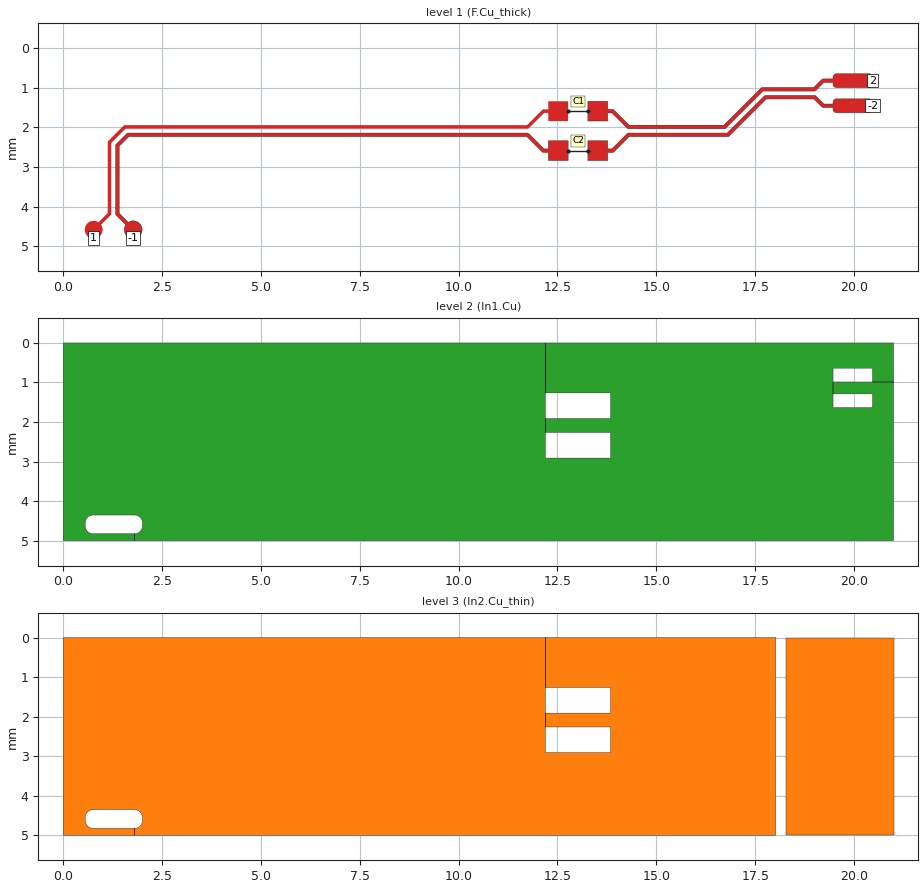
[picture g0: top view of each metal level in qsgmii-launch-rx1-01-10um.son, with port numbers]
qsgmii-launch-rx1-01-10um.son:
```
FTYP SONPROJ 19 ! Sonnet Project File
VER 18.56
HEADER
LIC antikernel2.1.65565
DAT 12/22/2024 21:07:20
BUILT_BY_CREATED xgeom 18.52 11/18/2021 20:28:07
BUILT_BY_SAVED sonnet 18.56
MDATE 12/22/2024 21:07:20
HDATE 12/22/2024 21:07:20
ANN Created by dxfgeo, Sonnet Software Inc.
END HEADER
DIM
ANG DEG
CAP PF
CON /OH
FREQ GHZ
IND NH
LNG MM
RES OH
END DIM
CONTROL
VARSWP
OPTIONS  -dj
SPEED 1
CACHE_ABS 2
Q_ACC N
END CONTROL
GEO
TMET "Free Space" 0 FREESPACE 376.7303136 0 0 0
BMET "Free Space" 0 FREESPACE 376.7303136 0 0 0
MET "Copper_1oz_thin" 1 NOR 58000000 0.5 0.035 
MET "Copper_1oz_thick" 2 TMM 58000000 0.5 0.035 2
MET "Copper_1oz_thick_down" 3 TMM 58000000 0.5 0.035 2 CDVY TDWN
MET "Copper_0.5oz_thin" 4 NOR 58000000 0.5 0.017 
MET "Copper_0.5oz_thick" 12 TMM 58000000 0.5 0.017 2
MET "Copper_0.5oz_thick_down" 5 TMM 58000000 0.5 0.017 2 CDVY TDWN
BOX 8 21 5 4200 1000 20 0
      5 1 1 0 0 0 0 "Air"
      0.04 3.5 1 0.025 0 0 0 "Soldermask"
      0.076 4.07 1 0.02 0 0 0 "Shengyi_S1000-2M"
      0.1 4.24 1 0.019 0 0 0 "Shengyi_S1000-2M"
      1.038 4.58 1 0.016 0 0 0 "Shengyi_S1000-2M"
      0.1 4.24 1 0.019 0 0 0 "Shengyi_S1000-2M"
      0.076 4.07 1 0.02 0 0 0 "Shengyi_S1000-2M"
      0.04 3.5 1 0.025 0 0 0 "Soldermask"
      5 1 1 0 0 0 0 "Air"
TECHLAY METAL F.Cu_thick L1D0 -2 -65534 CAD F.Cu_thick drawing 
1 0 1 N 1403 1 1 100 100 0 0 0 Y
END
END
TECHLAY VIA Via1 L7D0 -13 -65534 CAD Via1 drawing 
VIA POLYGON
1 0 -1 N 1413 1 1 100 100 0 0 0 Y
TOLEVEL 6 RING NOCOVERS
END
END
TECHLAY METAL F.Cu_thin <UNSPECIFIED> -1 -65534 CAD F.Cu_thin drawing 
1 0 0 N 1415 1 1 100 100 0 0 0 Y
END
END
TECHLAY METAL In1.Cu L2D0 -3 -65534 CAD In1.Cu drawing 
2 0 0 N 1422 1 1 100 100 0 0 0 Y
END
END
TECHLAY METAL In2.Cu_thin L3D0 -4 -65534 CAD In2.Cu drawing 
3 0 3 N 1425 1 1 100 100 0 0 0 Y
END
END
TECHLAY METAL In2.Cu_thick <UNSPECIFIED> -5 -65534 CAD In2.Cu_thick drawing 
3 0 4 N 1427 1 1 100 100 0 0 0 Y
END
END
TECHLAY METAL In3.Cu_thin L4D0 -8 -65534 CAD In5.Cu drawing 
4 0 3 N 1430 1 1 100 100 0 0 0 Y
END
END
TECHLAY METAL In3.Cu <UNSPECIFIED> -6 -65534 CAD In3.Cu drawing 
4 0 0 N 1448 1 1 100 100 0 0 0 Y
END
END
TECHLAY METAL In4.Cu L5D0 -10 -65534 CAD In6.Cu drawing 
5 0 0 N 1433 1 1 100 100 0 0 0 Y
END
END
TECHLAY METAL B.Cu_thick L6D0 -12 -65534 CAD B.Cu_thick drawing 
6 0 2 N 1436 1 1 100 100 0 0 0 Y
END
END
TECHLAY METAL B.Cu_thin <UNSPECIFIED> -11 -65534 CAD B.Cu_thin drawing 
6 0 0 N 1438 1 1 100 100 0 0 0 Y
END
END
TECHLAY METAL In3.Cu_thick <UNSPECIFIED> -9 -65534 CAD In5.Cu_thick drawing 
8 0 5 N 1442 1 1 100 100 0 0 0 Y
END
END
VALVAR WIDTH LNG 0.1 "Dim. Param."
VALVAR WIDTH2 LNG "WIDTH" "Dim. Param."
VALVAR SPACE LNG 0.15 "Dim. Param."
LORGN 0 5 U 
POR1 CUP Auto
GNDREF AUTO
TERMW FEED
POLY 30 1
60
-2 100 0 0 0 20.469 1.452 
CUPGRP "Auto" LOCAL
ID 1405
END
POR1 CUP Auto
GNDREF AUTO
TERMW FEED
POLY 49 1
56
2 100 0 0 0 20.469 0.817 
CUPGRP "Auto" LOCAL
ID 1407
END
POR1 CUP Auto
GNDREF FLOAT
TERMW FEED
POLY 1359 1
104
-1 100 0 0 0 1.769 4.8 
CUPGRP "Auto" LOCAL
ID 1409
END
POR1 CUP Auto
GNDREF FLOAT
TERMW FEED
POLY 1360 1
106
1 100 0 0 0 0.769 4.8 
CUPGRP "Auto" LOCAL
ID 1411
END
SMD 1 "C1"
ID 1382
GNDREF FLOAT
SBOX 12.894 13.144 1.5495 1.6245
PBSHW N
LPOS 13.019 1.5495
TYPE IDEAL CAP 100000
SMDP 1 12.769 1.587 L 3 1 
EXSMDP
GNDREF FLOAT
TERMW FEED
END EXSMDP
SMDP 1 13.269 1.587 R 4 2 
EXSMDP
GNDREF FLOAT
TERMW FEED
END EXSMDP
END
SMD 1 "C2"
ID 1387
GNDREF FLOAT
SBOX 12.894 13.144 2.5495 2.6245
PBSHW N
LPOS 13.019 2.5495
TYPE IDEAL CAP 100000
SMDP 1 12.769 2.587 L 5 1 
EXSMDP
GNDREF FLOAT
TERMW FEED
END EXSMDP
SMDP 1 13.269 2.587 R 6 2 
EXSMDP
GNDREF FLOAT
TERMW FEED
END EXSMDP
END
NUM 7
1 118 1 N 30 1 1 100 100 0 0 0 Y
TLAYNAM F.Cu_thick INH
13.269 2.337
13.769 2.337
13.769 2.542
13.876 2.542
14.256 2.162
14.257 2.16
14.263 2.154
14.267 2.151
14.27 2.148
14.274 2.146
14.278 2.145
14.283 2.143
14.287 2.142
16.792 2.142
17.725 1.21
17.726 1.208
17.732 1.202
17.736 1.199
17.739 1.196
17.743 1.194
17.747 1.193
17.751 1.191
17.756 1.19
18.995 1.19
18.999 1.189
19.004 1.189
19.012 1.191
19.017 1.192
19.025 1.196
19.028 1.198
19.032 1.201
19.237 1.407
19.469 1.407
19.469 1.36
19.47 1.352
19.472 1.343
19.474 1.335
19.477 1.327
19.481 1.32
19.486 1.312
19.504 1.294
19.512 1.289
19.519 1.285
19.527 1.282
19.535 1.28
19.544 1.278
19.552 1.277
20.386 1.277
20.394 1.278
20.403 1.28
20.411 1.282
20.419 1.285
20.426 1.289
20.434 1.294
20.452 1.312
20.457 1.32
20.461 1.327
20.464 1.335
20.466 1.343
20.468 1.352
20.469 1.36
20.469 1.544
20.468 1.552
20.466 1.561
20.464 1.569
20.461 1.577
20.457 1.584
20.452 1.592
20.434 1.61
20.426 1.615
20.419 1.619
20.411 1.622
20.403 1.624
20.394 1.626
20.386 1.627
19.552 1.627
19.544 1.626
19.535 1.624
19.527 1.622
19.519 1.619
19.512 1.615
19.504 1.61
19.486 1.592
19.481 1.584
19.477 1.577
19.474 1.569
19.472 1.561
19.47 1.552
19.469 1.544
19.469 1.497
19.212 1.497
19.208 1.496
19.204 1.494
19.2 1.493
19.196 1.491
19.192 1.488
19.183 1.479
18.983 1.28
17.781 1.28
16.841 2.221
16.837 2.224
16.834 2.226
16.826 2.23
16.821 2.231
16.813 2.233
16.808 2.233
16.804 2.232
14.312 2.232
13.921 2.623
13.917 2.626
13.913 2.628
13.909 2.629
13.905 2.631
13.901 2.632
13.769 2.632
13.769 2.837
13.269 2.837
13.269 2.337
END
1 120 1 N 49 1 1 100 100 0 0 0 Y
TLAYNAM F.Cu_thick INH
13.269 1.337
13.769 1.337
13.769 1.542
13.901 1.542
13.905 1.543
13.909 1.545
13.913 1.546
13.917 1.548
13.921 1.551
14.312 1.942
16.709 1.942
17.642 1.01
17.643 1.008
17.649 1.002
17.653 0.999
17.656 0.996
17.66 0.994
17.664 0.993
17.669 0.991
17.673 0.99
18.982 0.99
19.183 0.79
19.192 0.781
19.196 0.778
19.2 0.776
19.204 0.775
19.208 0.773
19.212 0.772
19.469 0.772
19.469 0.725
19.47 0.717
19.472 0.708
19.474 0.7
19.477 0.692
19.481 0.685
19.486 0.677
19.504 0.659
19.512 0.654
19.519 0.65
19.527 0.647
19.535 0.645
19.544 0.643
19.552 0.642
20.386 0.642
20.394 0.643
20.403 0.645
20.411 0.647
20.419 0.65
20.426 0.654
20.434 0.659
20.452 0.677
20.457 0.685
20.461 0.692
20.464 0.7
20.466 0.708
20.468 0.717
20.469 0.725
20.469 0.909
20.468 0.917
20.466 0.926
20.464 0.934
20.461 0.942
20.457 0.949
20.452 0.957
20.434 0.975
20.426 0.98
20.419 0.984
20.411 0.987
20.403 0.989
20.394 0.991
20.386 0.992
19.552 0.992
19.544 0.991
19.535 0.989
19.527 0.987
19.519 0.984
19.512 0.98
19.504 0.975
19.486 0.957
19.481 0.949
19.477 0.942
19.474 0.934
19.472 0.926
19.47 0.917
19.469 0.909
19.469 0.862
19.237 0.862
19.037 1.062
19.032 1.068
19.024 1.074
19.02 1.076
19.018 1.076
19.017 1.077
19.015 1.077
19.012 1.079
19.008 1.08
17.698 1.08
16.764 2.014
16.758 2.021
16.754 2.024
16.751 2.026
16.743 2.03
16.74 2.031
16.739 2.031
16.735 2.032
16.734 2.032
16.73 2.033
16.725 2.033
16.721 2.032
14.287 2.032
14.283 2.031
14.279 2.029
14.275 2.028
14.271 2.026
14.267 2.023
13.876 1.632
13.769 1.632
13.769 1.837
13.269 1.837
13.269 1.337
END
1 107 1 N 1359 1 1 100 100 0 0 0 Y
TLAYNAM F.Cu_thick INH
1.845 4.799
1.865 4.79
1.885 4.78
1.903 4.768
1.92 4.754
1.936 4.738
1.95 4.721
1.962 4.703
1.972 4.683
1.981 4.663
1.987 4.642
1.992 4.62
1.994 4.598
1.994 4.576
1.992 4.554
1.987 4.532
1.981 4.511
1.972 4.491
1.962 4.471
1.95 4.453
1.936 4.436
1.92 4.42
1.903 4.406
1.885 4.394
1.865 4.384
1.845 4.375
1.824 4.369
1.802 4.364
1.78 4.362
1.758 4.362
1.736 4.364
1.714 4.369
1.693 4.375
1.673 4.384
1.653 4.394
1.645 4.4
1.414 4.169
1.414 2.475
1.658 2.232
11.726 2.232
12.117 2.623
12.121 2.626
12.125 2.628
12.129 2.629
12.133 2.631
12.137 2.632
12.269 2.632
12.269 2.837
12.769 2.837
12.769 2.337
12.269 2.337
12.269 2.542
12.162 2.542
11.782 2.162
11.781 2.16
11.775 2.154
11.767 2.148
11.764 2.146
11.76 2.145
11.755 2.143
11.751 2.142
1.632 2.142
1.628 2.143
1.625 2.145
1.622 2.145
1.616 2.148
1.608 2.154
1.603 2.16
1.344 2.419
1.342 2.42
1.336 2.426
1.336 2.427
1.333 2.43
1.33 2.434
1.328 2.437
1.327 2.441
1.325 2.446
1.324 2.45
1.324 4.194
1.325 4.198
1.327 4.202
1.328 4.206
1.33 4.21
1.333 4.214
1.582 4.463
1.576 4.471
1.566 4.491
1.557 4.511
1.551 4.532
1.546 4.554
1.544 4.576
1.544 4.598
1.546 4.62
1.551 4.642
1.557 4.663
1.566 4.683
1.576 4.703
1.588 4.721
1.602 4.738
1.618 4.754
1.635 4.768
1.653 4.78
1.673 4.79
1.693 4.799
1.6965 4.8
1.8415 4.8
1.845 4.799
END
1 109 1 N 1360 1 1 100 100 0 0 0 Y
TLAYNAM F.Cu_thick INH
0.845 4.799
0.865 4.79
0.885 4.78
0.903 4.768
0.92 4.754
0.936 4.738
0.95 4.721
0.962 4.703
0.972 4.683
0.981 4.663
0.987 4.642
0.992 4.62
0.994 4.598
0.994 4.576
0.992 4.554
0.987 4.532
0.981 4.511
0.972 4.491
0.962 4.471
0.956 4.463
1.192 4.226
1.196 4.223
1.205 4.214
1.208 4.21
1.21 4.206
1.211 4.202
1.213 4.198
1.214 4.194
1.214 2.392
1.574 2.032
11.751 2.032
11.755 2.031
11.759 2.029
11.763 2.028
11.767 2.026
11.771 2.023
11.774 2.02
11.778 2.017
11.78 2.014
11.783 2.01
12.162 1.632
12.269 1.632
12.269 1.837
12.769 1.837
12.769 1.337
12.269 1.337
12.269 1.542
12.137 1.542
12.133 1.543
12.129 1.545
12.125 1.546
12.121 1.548
12.117 1.551
11.726 1.942
1.549 1.942
1.545 1.943
1.541 1.945
1.537 1.946
1.533 1.948
1.529 1.951
1.142 2.338
1.139 2.34
1.136 2.344
1.133 2.347
1.13 2.351
1.128 2.355
1.127 2.359
1.125 2.363
1.124 2.367
1.124 4.169
0.893 4.4
0.885 4.394
0.865 4.384
0.845 4.375
0.824 4.369
0.802 4.364
0.78 4.362
0.758 4.362
0.736 4.364
0.714 4.369
0.693 4.375
0.673 4.384
0.653 4.394
0.635 4.406
0.618 4.42
0.602 4.436
0.588 4.453
0.576 4.471
0.566 4.491
0.557 4.511
0.551 4.532
0.546 4.554
0.544 4.576
0.544 4.598
0.546 4.62
0.551 4.642
0.557 4.663
0.566 4.683
0.576 4.703
0.588 4.721
0.602 4.738
0.618 4.754
0.635 4.768
0.653 4.78
0.673 4.79
0.693 4.799
0.6965 4.8
0.8415 4.8
0.845 4.799
END
2 64 0 N 1380 1 1 100 100 0 0 0 Y
TLAYNAM In1.Cu INH
21 0
12.194 0
12.194 1.262
13.844 1.262
13.844 1.912
12.194 1.912
12.194 2.262
13.844 2.262
13.844 2.912
12.194 2.912
12.194 2.262
12.194 1.912
12.194 1.912
12.194 1.262
12.194 0
0 0
0 5
1.804 5
1.804 4.827
0.754 4.827
0.715 4.825
0.642 4.795
0.586 4.739
0.556 4.666
0.554 4.627
0.554 4.552
0.556 4.513
0.586 4.44
0.642 4.384
0.715 4.354
0.754 4.352
1.806 4.352
1.833 4.353
1.843 4.354
1.916 4.384
1.972 4.44
2.002 4.513
2.003 4.54
2.004 4.552
2.004 4.627
2.003 4.64
2.002 4.666
1.994 4.685
1.972 4.739
1.916 4.795
1.843 4.825
1.804 4.827
1.804 5
21 5
21 0.987
20.469 0.987
19.469 0.987
19.469 1.287
20.469 1.287
20.469 1.637
19.469 1.637
19.469 1.287
19.469 0.987
19.469 0.987
19.469 0.637
20.469 0.637
20.469 0.987
21 0.987
21 0
END
3 49 3 N 1357 1 1 100 100 0 0 0 Y
TLAYNAM In2.Cu_thin INH
18.019 0
12.194 0
12.194 1.262
13.844 1.262
13.844 1.912
12.194 1.912
12.194 2.262
13.844 2.262
13.844 2.912
12.194 2.912
12.194 2.262
12.194 1.912
12.194 1.912
12.194 1.262
12.194 0
0 0
0 5
1.804 5
1.804 4.827
0.754 4.827
0.715 4.825
0.642 4.795
0.586 4.739
0.556 4.666
0.554 4.627
0.554 4.552
0.556 4.513
0.586 4.44
0.642 4.384
0.715 4.354
0.754 4.352
1.807 4.352
1.815 4.353
1.843 4.354
1.916 4.384
1.972 4.44
2.002 4.513
2.003 4.54
2.004 4.552
2.004 4.627
2.003 4.64
2.002 4.666
1.972 4.739
1.916 4.795
1.843 4.825
1.804 4.827
1.804 5
18.019 5
18.019 0
END
3 5 3 N 1381 1 1 100 100 0 0 0 Y
TLAYNAM In2.Cu_thin INH
21 0
18.269 0
18.269 5
21 5
21 0
END
END GEO
OPT
MAX 100
END OPT
VARSWP
ENABLED Y
FREQ Y AY ABS_ENTRY 0.01 20.0 -1 300 
VAR WIDTH N 0.1 0.1 UNDEF
END
END VARSWP
```
